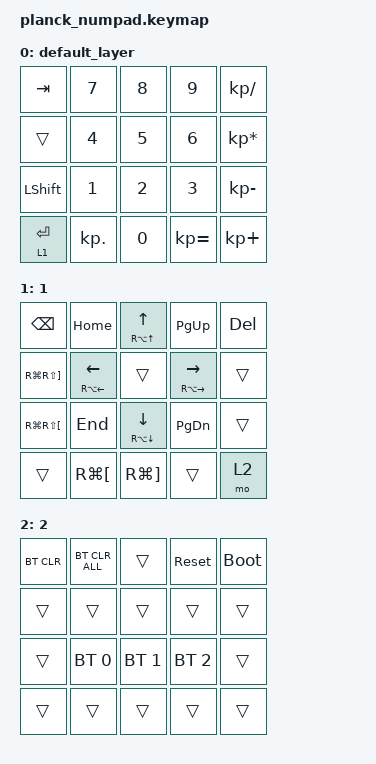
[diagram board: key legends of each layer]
#include <behaviors.dtsi>
#include <dt-bindings/zmk/keys.h>
#include <dt-bindings/zmk/bt.h>

&mt {
    tapping-term-ms = <170>;
};

&lt {
    tapping-term-ms = <170>;
};



/ {
    keymap {
        compatible = "zmk,keymap";

        default_layer {
            // -----------------------------------------------
            // |   TAB   |   7    |   8    |   9    |   /    |
            // -----------------------------------------------
            // |   ESC   |   4    |   5    |   6    |   *    |
            // -----------------------------------------------
            // |  SHIFT  |   1    |   2    |   3    |   -    |
            // ----------------------------------------------- 
            // |   ENT   |   .    |   0    |   =    |   +    | 
            // -----------------------------------------------
            bindings = <
                &kp TAB    &kp N7    &kp N8    &kp N9    &kp KP_DIVIDE    
                &trans     &kp N4    &kp N5    &kp N6    &kp KP_MULTIPLY   
                &kp LSHFT  &kp N1    &kp N2    &kp N3    &kp KP_MINUS    
              &lt 1 ENTER  &kp KP_DOT  &kp N0  &kp KP_EQUAL  &kp KP_PLUS  
            >;
        };

        1 {
            // -----------------------------------------------
            // |   BSPC  |  HOME  |   UP   | PG UP  |   DEL  |
            // -----------------------------------------------
            // | BTab R  |  LEFT  |        | RIGHT  |        |
            // ----------------------------------------------- 
            // | BTab L  |  END   |  DOWN  | PG DWN |        |
            // ----------------------------------------------- 
            // |         |  BBack |  BFwd  |        | layer 2| 
            // -----------------------------------------------
            bindings = <
                &kp BSPC     &kp HOME     &mt RA(UP) UP     &kp PG_UP           &kp DEL
            &kp RG(RS(RBKT))  &mt RA(LEFT) LEFT  &trans     &mt RA(RIGHT) RIGHT &trans    
            &kp RG(RS(LBKT))  &kp END   &mt RA(DOWN) DOWN   &kp PG_DN           &trans    
                &trans       &kp RG(LBKT)   &kp RG(RBKT)    &trans              &mo 2 
            >;
        };

        2 {
            // -----------------------------------------------
            // |  BT_CLR | BT_ALL |        |sys_reset|bootloader|
            // -----------------------------------------------
            // |         |        |        |        |        |
            // ----------------------------------------------- 
            // |         |  BT 0  |  BT 1  |  BT 2  |        |
            // ----------------------------------------------- 
            // |         |        |        |        |        | 
            // -----------------------------------------------
            bindings = <
                &bt BT_CLR  &bt BT_CLR_ALL   &trans   &sys_reset  &bootloader
                &trans      &trans          &trans      &trans      &trans    
                &trans      &bt BT_SEL 0  &bt BT_SEL 1  &bt BT_SEL 2 &trans    
                &trans      &trans          &trans      &trans      &trans 
            >;
        };
    };
};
